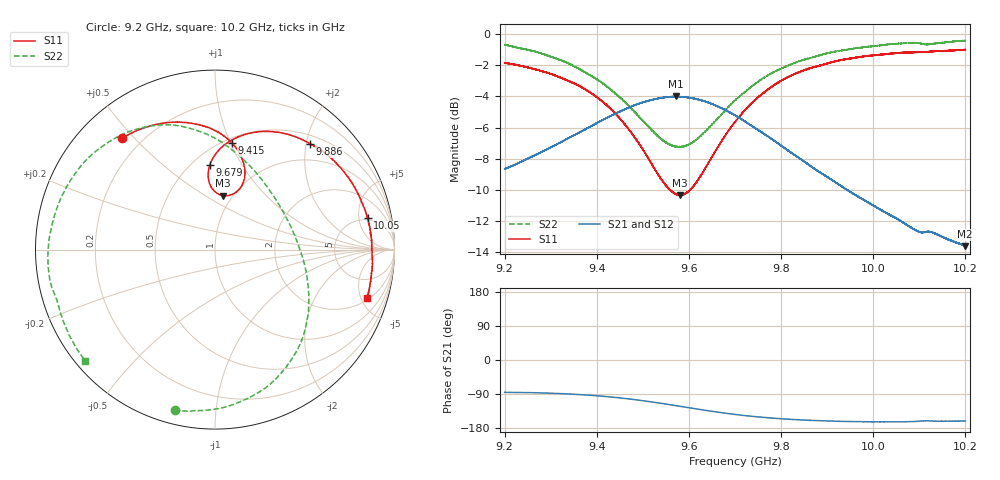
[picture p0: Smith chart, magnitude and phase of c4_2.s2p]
!Agilent Technologies,N5242A,MY51221714,A.09.90.19
!Agilent N5242A: A.09.90.19
!Date: Tuesday, March 26, 2024 15:53:08
!Correction: S11(Full 2 Port(1,2))
!S21(Full 2 Port(1,2))
!S12(Full 2 Port(1,2))
!S22(Full 2 Port(1,2))
!S2P File: Measurements: S11, S21, S12, S22:
# Hz S  dB  R 50
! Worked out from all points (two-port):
!   16001 points, 9.2 GHz to 10.2 GHz, reference 50 ohm
!   highest |S21| = -4.00 dB at 9.571 GHz (marker M1); lowest = -13.6 dB at 10.2 GHz (marker M2)
!   |S21| within 3 dB of the highest: 9.317712 GHz to 9.317927 GHz (215.1 kHz wide, 0.00231 % of centre); 9.318 GHz to 9.793 GHz (474.7 MHz wide, 4.97 % of centre)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
!   lowest |S11| = -10.3 dB at 9.581 GHz (marker M3), VSWR 1.87, Z = 45.3 + j30 ohm
!   |S11| at or under -10 dB: 9.55855 GHz to 9.5586 GHz (49.41 kHz wide, 0.000517 % of centre); 9.55897 GHz to 9.602418 GHz (43.45 MHz wide, 0.453 % of centre); 9.602454 GHz to 9.602578 GHz (124.3 kHz wide, 0.00129 % of centre)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
!   |S22| runs from -7.3 to -0.4 dB; largest |S21 - S12| = 0.008
!   S11 on the Smith chart (normalised r, x): 9.2 GHz: 0.13, +0.46; 9.415 GHz: 0.54, +1.01; 9.679 GHz: 0.61, +0.74; 9.886 GHz: 0.66, +2.08; 10.05 GHz: 4.67, +6.59; 10.2 GHz: 2.19, -5.67
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9.2e9  -1.85 129.8  -8.66 -85.3  -8.65 -86.0  -0.69 -104.0
9.278812e9  -2.37 112.2  -7.59 -86.8  -7.57 -87.4  -1.25 -82.5
9.366688e9  -3.41 92.0  -6.25 -91.6  -6.23 -92.2  -2.34 -58.8
9.4155e9  -4.41 81.0  -5.48 -95.9  -5.48 -96.6  -3.23 -44.9
9.475062e9  -6.33 70.0  -4.66 -103.5  -4.65 -104.1  -4.79 -25.0
9.533375e9  -9.03 68.7  -4.15 -113.2  -4.13 -113.8  -6.55 1.4
9.571438e9  -10.26 78.1  -4.00 -120.4  -4.01 -120.9  -7.23 24.2
9.581188e9  -10.35 81.4  -4.03 -122.3  -4.03 -122.8  -7.24 30.4
9.633688e9  -8.71 94.6  -4.32 -132.3  -4.31 -132.9  -6.30 61.4
9.679e9  -6.50 93.5  -4.88 -140.3  -4.88 -140.9  -4.91 81.4
9.7e9  -5.64 90.4  -5.21 -143.6  -5.20 -144.2  -4.26 88.6
9.7425e9  -4.27 81.8  -6.01 -149.2  -6.01 -149.8  -3.23 101.6
9.780375e9  -3.38 73.1  -6.76 -153.3  -6.77 -153.9  -2.51 111.9
9.822312e9  -2.66 63.0  -7.62 -156.8  -7.63 -157.3  -1.95 122.8
9.866688e9  -2.17 52.5  -8.52 -159.4  -8.53 -159.9  -1.50 133.9
9.886e9  -2.02 48.0  -8.91 -160.3  -8.90 -160.7  -1.35 138.8
9.961438e9  -1.52 30.9  -10.32 -162.6  -10.32 -163.0  -0.93 158.0
1.003338e10  -1.28 15.4  -11.56 -163.2  -11.55 -163.7  -0.67 176.3
1.005138e10  -1.23 11.6  -11.83 -163.2  -11.86 -163.8  -0.63 -179.3
1.01005e10  -1.18 1.7  -12.71 -161.4  -12.70 -161.9  -0.61 -166.9
1.019931e10  -1.02 -17.5  -13.60 -161.3  -13.57 -161.7  -0.43 -139.6
1.02e10  -1.01 -17.5  -13.60 -161.0  -13.58 -161.6  -0.43 -139.4
